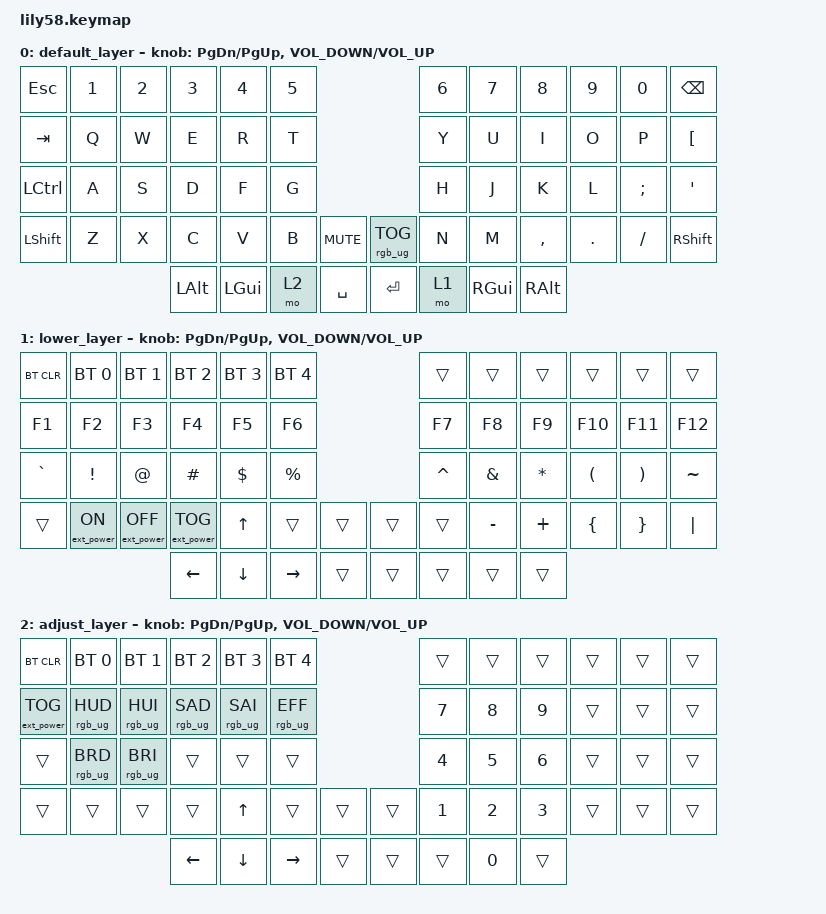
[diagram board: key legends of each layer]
/*
 * Copyright (c) 2020 The ZMK Contributors
 *
 * SPDX-License-Identifier: MIT
 */

#include <behaviors.dtsi>
#include <dt-bindings/zmk/bt.h>
#include <dt-bindings/zmk/ext_power.h>
#include <dt-bindings/zmk/keys.h>
#include <dt-bindings/zmk/rgb.h>

/ {
    // Activate ADJUST layer by pressing raise and lower

    conditional_layers {
        compatible = "zmk,conditional-layers";

        adjust_layer {
            if-layers = <1 2>;
            then-layer = <3>;
        };
    };

    keymap {
        compatible = "zmk,keymap";

        default_layer {
            // ------------------------------------------------------------------------------------------------------------
            // |  ESC  |  1  |  2  |  3   |  4   |  5   |                   |  6   |  7    |  8    |  9   |   0   |   `   |
            // |  TAB  |  Q  |  W  |  E   |  R   |  T   |                   |  Y   |  U    |  I    |  O   |   P   |   -   |
            // |  CTRL |  A  |  S  |  D   |  F   |  G   |                   |  H   |  J    |  K    |  L   |   ;   |   '   |
            // | SHIFT |  Z  |  X  |  C   |  V   |  B   |  MUTE  |  |RGB_TOG|  N   |  M    |  ,    |  .   |   /   | SHIFT |
            //                     | ALT  | GUI  | LOWER|  SPACE |  | ENTER | RAISE| BSPC  | GUI   |

            bindings = <
&kp ESC    &kp N1  &kp N2  &kp N3    &kp N4    &kp N5                                 &kp N6  &kp N7         &kp N8         &kp N9   &kp N0    &kp BSPC
&kp TAB    &kp Q   &kp W   &kp E     &kp R     &kp T                                  &kp Y   &kp U          &kp I          &kp O    &kp P     &kp LEFT_BRACKET
&kp LCTRL  &kp A   &kp S   &kp D     &kp F     &kp G                                  &kp H   &kp J          &kp K          &kp L    &kp SEMI  &kp SQT
&kp LSHFT  &kp Z   &kp X   &kp C     &kp V     &kp B   &kp C_MUTE    &rgb_ug RGB_TOG  &kp N   &kp M          &kp COMMA      &kp DOT  &kp FSLH  &kp RSHFT
                           &kp LALT  &kp LGUI  &mo 2   &kp SPACE     &kp RET          &mo 1   &kp RIGHT_GUI  &kp RIGHT_ALT
            >;

            sensor-bindings =
                <&inc_dec_kp PAGE_DOWN PAGE_UP>,
                <&inc_dec_kp C_VOLUME_DOWN C_VOLUME_UP>;
        };

        lower_layer {
            // ------------------------------------------------------------------------------------------------------------
            // | BTCLR | BT1 | BT2 |  BT3 |  BT4 |  BT5 |                   |      |       |       |      |       |       |
            // |  F1   |  F2 |  F3 |  F4  |  F5  |  F6  |                   |  F7  |  F8   |  F9   |  F10 |  F11  |  F12  |
            // |   `   |  !  |  @  |  #   |  $   |  %   |                   |  ^   |  &    |  *    |  (   |   )   |   ~   |
            // |EXTPWR |     |     |      |      |      |        |  |       |      |  _    |  +    |  {   |   }   |  "|"  |
            //                     |      |      |      |        |  |       |      |       |       |

            bindings = <
&bt BT_CLR  &bt BT_SEL 0      &bt BT_SEL 1       &bt BT_SEL 2       &bt BT_SEL 3    &bt BT_SEL 4                    &trans     &trans     &trans     &trans    &trans    &trans
&kp F1      &kp F2            &kp F3             &kp F4             &kp F5          &kp F6                          &kp F7     &kp F8     &kp F9     &kp F10   &kp F11   &kp F12
&kp GRAVE   &kp EXCL          &kp AT             &kp HASH           &kp DOLLAR      &kp PRCNT                       &kp CARET  &kp AMPS   &kp ASTRK  &kp LPAR  &kp RPAR  &kp TILDE
&trans      &ext_power EP_ON  &ext_power EP_OFF  &ext_power EP_TOG  &kp UP_ARROW    &trans        &trans    &trans  &trans     &kp MINUS  &kp PLUS   &kp LBRC  &kp RBRC  &kp PIPE
                                                 &kp LEFT_ARROW     &kp DOWN_ARROW  &kp RIGHT     &trans    &trans  &trans     &trans     &trans
            >;

            sensor-bindings =
                <&inc_dec_kp PAGE_DOWN PAGE_UP>,
                <&inc_dec_kp C_VOLUME_DOWN C_VOL_UP>;
        };

        adjust_layer {
            // ----------------------------------------------------------------------------------------------------------------------------
            // | BTCLR  |  BT1    |  BT2    |   BT3   |   BT4   |   BT5   |                  |      |      |       |      |       |       |
            // | EXTPWR | RGB_HUD | RGB_HUI | RGB_SAD | RGB_SAI | RGB_EFF |                  |      |      |       |      |       |       |
            // |        | RGB_BRD | RGB_BRI |         |         |         |                  |      |      |       |      |       |       |
            // |        |         |         |         |         |         | RGB_TOG | |      |      |      |       |      |       |       |
            //                    |         |         |         |         |         | |      |      |      |       |      |

            bindings = <
&bt BT_CLR         &bt BT_SEL 0     &bt BT_SEL 1     &bt BT_SEL 2     &bt BT_SEL 3     &bt BT_SEL 4                       &trans        &trans        &trans        &trans  &trans  &trans
&ext_power EP_TOG  &rgb_ug RGB_HUD  &rgb_ug RGB_HUI  &rgb_ug RGB_SAD  &rgb_ug RGB_SAI  &rgb_ug RGB_EFF                    &kp N7        &kp N8        &kp NUMBER_9  &trans  &trans  &trans
&trans             &rgb_ug RGB_BRD  &rgb_ug RGB_BRI  &trans           &trans           &trans                             &kp NUMBER_4  &kp N5        &kp NUMBER_6  &trans  &trans  &trans
&trans             &trans           &trans           &trans           &kp UP_ARROW     &trans           &trans    &trans  &kp NUMBER_1  &kp NUMBER_2  &kp NUMBER_3  &trans  &trans  &trans
                                                     &kp LEFT_ARROW   &kp DOWN         &kp RIGHT        &trans    &trans  &trans        &kp NUMBER_0  &trans
            >;

            sensor-bindings =
                <&inc_dec_kp PAGE_DOWN PAGE_UP>,
                <&inc_dec_kp C_VOLUME_DOWN C_VOLUME_UP>;
        };

        extra1 { status = "reserved"; };

        extra2 { status = "reserved"; };

        extra3 { status = "reserved"; };

        extra4 { status = "reserved"; };

        extra5 { status = "reserved"; };
    };
};
